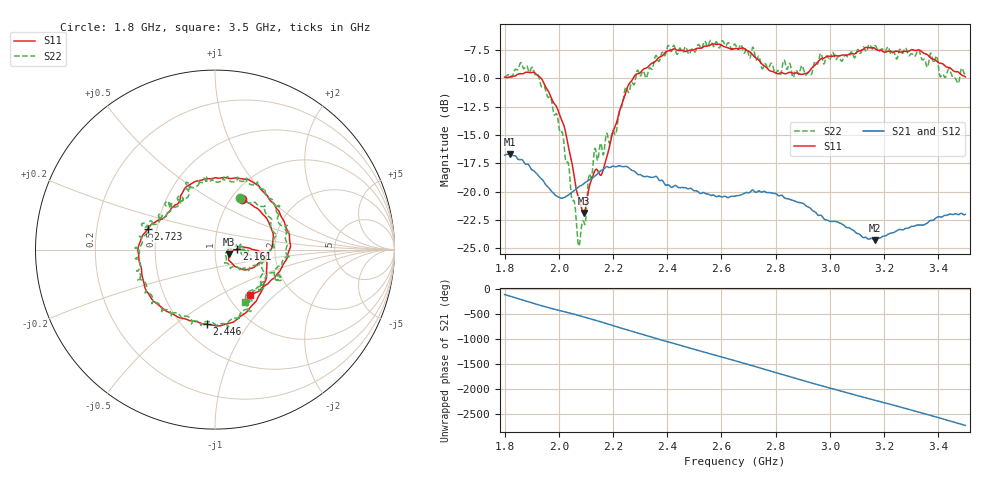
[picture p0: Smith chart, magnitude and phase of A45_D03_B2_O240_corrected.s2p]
! Created with skrf 1.9.0 (http://scikit-rf.org).
# Hz S RI R 50.0
!freq ReS11 ImS11 ReS21 ImS21 ReS12 ImS12 ReS22 ImS22
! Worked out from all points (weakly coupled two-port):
!   1601 points, 1.8 GHz to 3.5 GHz, reference 50 ohm
!   highest |S21| = -16.68 dB at 1.818 GHz (marker M1); lowest = -24.3 dB at 3.165 GHz (marker M2)
!   lowest |S11| = -21.9 dB at 2.092 GHz (marker M3), VSWR 1.18, Z = 58.2 - j2.96 ohm
!   |S11| at or under -10 dB: 1.934 GHz to 2.275 GHz (340.2 MHz wide, 16.2 % of centre)
!   |S22| runs from -24.8 to -6.7 dB; largest |S21 - S12| = 0.0026
!   S11 on the Smith chart (normalised r, x): 1.8 GHz: 1.13, +0.71; 2.161 GHz: 1.28, +0.01; 2.446 GHz: 0.65, -0.66; 2.723 GHz: 0.45, +0.12; 3.5 GHz: 1.26, -0.71
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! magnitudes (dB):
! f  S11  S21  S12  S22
! 1.8 GHz  -9.9  -16.8  -16.8  -9.9
! 1.818 GHz  -9.9  -16.7  -16.7  -9.8
! 1.903 GHz  -9.5  -18.1  -18.1  -9.1
! 1.968 GHz  -11.5  -19.8  -19.8  -11.6
! 2.014 GHz  -13.8  -20.6  -20.6  -14.8
! 2.072 GHz  -20.5  -19.6  -19.6  -24.7
! 2.084 GHz  -21.4  -19.4  -19.4  -23.1
! 2.092 GHz  -21.9  -19.3  -19.3  -22.7
! 2.131 GHz  -18.2  -18.7  -18.6  -16.3
! 2.161 GHz  -18.3  -18.1  -18.0  -16.5
! 2.209 GHz  -14.2  -17.8  -17.8  -15.0
! 2.257 GHz  -10.6  -17.9  -17.9  -11.3
! 2.367 GHz  -8.2  -18.9  -18.8  -8.5
! 2.446 GHz  -7.6  -19.7  -19.6  -7.3
! 2.65 GHz  -7.4  -20.4  -20.4  -7.0
! 2.723 GHz  -8.2  -20.0  -20.0  -8.0
! 2.805 GHz  -9.6  -20.2  -20.3  -9.4
! 2.934 GHz  -9.1  -21.6  -21.6  -9.6
! 3.165 GHz  -7.4  -24.3  -24.2  -7.1
! 3.217 GHz  -7.6  -23.7  -23.7  -7.3
! 3.469 GHz  -9.4  -22.0  -22.0  -10.3
! 3.5 GHz  -9.9  -22.0  -22.0  -9.4
